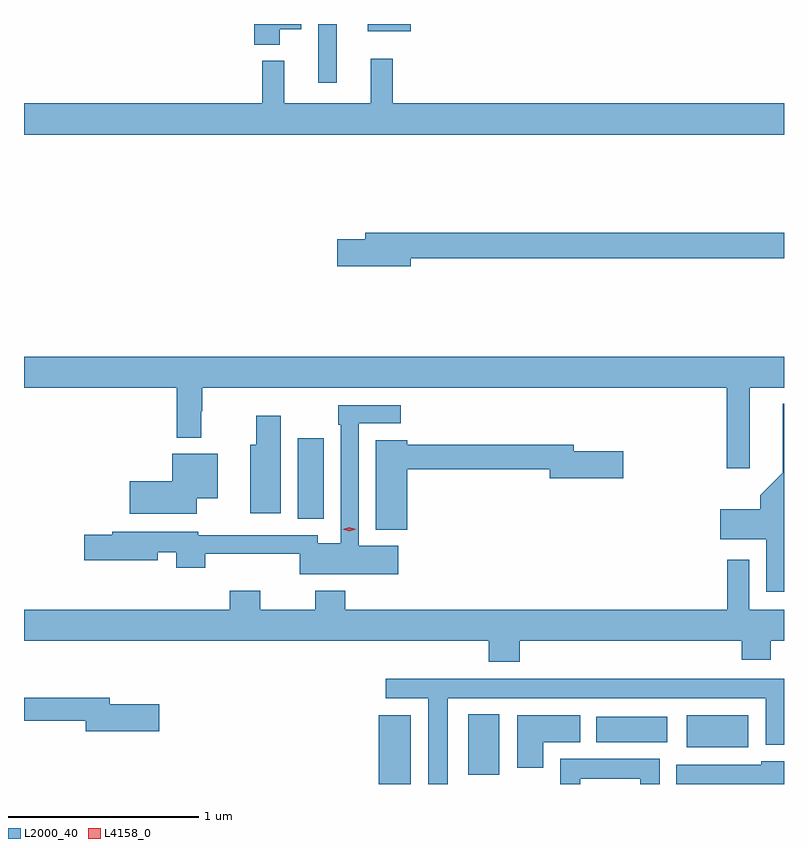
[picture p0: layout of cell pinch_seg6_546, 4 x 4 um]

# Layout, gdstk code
import gdstk
lib = gdstk.Library(unit=1e-6, precision=1e-09)
def R(c, l, rs):  # rectangles x0, y0, x1, y1
    for r in rs: c.add(gdstk.rectangle(r[:2], r[2:], *l))
def P(c, l, *ps):  # polygons
    for p in ps: c.add(gdstk.Polygon(p, *l))
L2000_40 = (2000, 40)
L4158_0 = (4158, 0)

pinch_seg6_546 = lib.new_cell('pinch_seg6_546')
R(pinch_seg6_546, L2000_40, [(554.498,991.87,554.668,992.233), (554.969,991.92,555.133,992.236), (556.121,992.063,556.444,992.233), (555.644,992.09,556.018,992.224), (554.072,993.265,554.209,993.691), (554.181,995.562,554.278,995.87), (554.441,995.831,554.668,995.87)])
P(pinch_seg6_546, L2000_40, [(553.978,995.843),(554.092,995.843),(554.092,995.87),(553.844,995.87),(553.844,995.762),(553.978,995.762)],
  [(556.632,995.452),(554.573,995.452),(554.573,995.686),(554.456,995.686),(554.456,995.452),(554.003,995.452),(554.003,995.677),(553.885,995.677),(553.885,995.452),(552.632,995.452),(552.632,995.288),(556.632,995.288)],
  [(554.668,994.636),(556.632,994.636),(556.632,994.772),(554.429,994.772),(554.429,994.736),(554.28,994.736),(554.28,994.594),(554.668,994.594)],
  [(556.453,993.956),(556.632,993.956),(556.632,994.12),(552.632,994.12),(552.632,993.956),(553.435,993.956),(553.435,993.693),(553.564,993.693),(553.564,993.833),(553.571,993.833),(553.571,993.956),(556.331,993.956),(556.331,993.531),(556.453,993.531)],
  [(556.632,993.871),(556.625,993.871),(556.625,993.61),(556.626,993.61),(556.626,993.508),(556.508,993.39),(556.508,993.316),(556.296,993.316),(556.296,993.158),(556.538,993.158),(556.538,992.882),(556.632,992.882)],
  [(554.602,993.124),(554.394,993.124),(554.394,993.768),(554.614,993.768),(554.614,993.864),(554.286,993.864),(554.286,993.761),(554.298,993.761),(554.298,993.136),(554.178,993.136),(554.178,993.18),(553.548,993.18),(553.548,993.198),(553.097,993.198),(553.097,993.182),(552.948,993.182),(552.948,993.047),(553.336,993.047),(553.336,993.09),(553.433,993.09),(553.433,993.008),(553.586,993.008),(553.586,993.083),(554.082,993.083),(554.082,992.975),(554.602,992.975)],
  [(553.984,993.808),(553.855,993.808),(553.855,993.655),(553.823,993.655),(553.823,993.294),(553.984,993.294)],
  [(554.65,993.526),(555.398,993.526),(555.398,993.479),(555.787,993.479),(555.787,993.621),(555.526,993.621),(555.526,993.655),(554.65,993.655),(554.65,993.679),(554.483,993.679),(554.483,993.209),(554.65,993.209)],
  [(553.54,993.374),(553.651,993.374),(553.651,993.607),(553.412,993.607),(553.412,993.464),(553.188,993.464),(553.188,993.293),(553.54,993.293)],
  [(553.715,992.887),(553.715,992.788),(552.632,992.788),(552.632,992.624),(555.077,992.624),(555.077,992.513),(555.242,992.513),(555.242,992.624),(556.409,992.624),(556.409,992.525),(556.561,992.525),(556.561,992.624),(556.632,992.624),(556.632,992.788),(556.449,992.788),(556.449,993.049),(556.333,993.049),(556.333,992.788),(554.324,992.788),(554.324,992.887),(554.164,992.887),(554.164,992.788),(553.875,992.788),(553.875,992.887)],
  [(554.863,992.321),(556.536,992.321),(556.536,992.076),(556.632,992.076),(556.632,992.425),(554.535,992.425),(554.535,992.321),(554.759,992.321),(554.759,991.894),(554.76,991.894),(554.76,991.87),(554.863,991.87)],
  [(553.345,992.289),(553.084,992.289),(553.084,992.323),(552.632,992.323),(552.632,992.202),(552.956,992.202),(552.956,992.147),(553.345,992.147)],
  [(555.364,992.09),(555.559,992.09),(555.559,992.233),(555.227,992.233),(555.227,991.956),(555.364,991.956)],
  [(555.559,991.898),(555.875,991.898),(555.875,991.87),(555.979,991.87),(555.979,992.002),(555.455,992.002),(555.455,991.87),(555.559,991.87)],
  [(556.632,991.99),(556.512,991.99),(556.512,991.972),(556.064,991.972),(556.064,991.87),(556.632,991.87)])
P(pinch_seg6_546, L4158_0, [(554.345,993.201),(554.31,993.212),(554.31,993.212),(554.31,993.212),(554.345,993.221),(554.38,993.211),(554.38,993.21),(554.38,993.21)])

lib.write_gds('pinch_seg6_546.gds')
